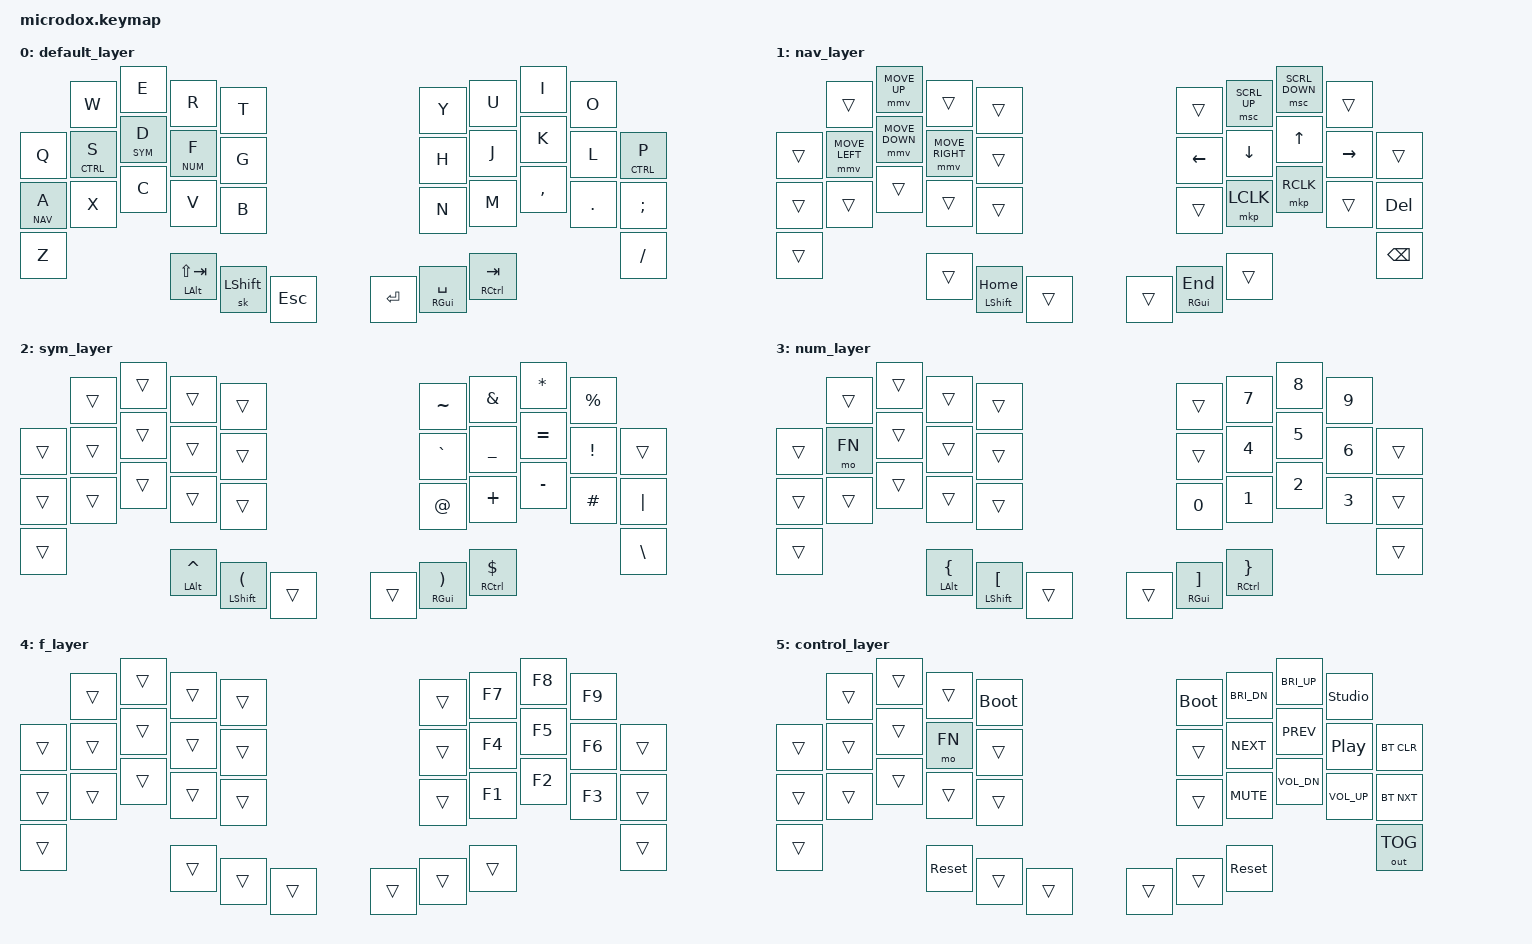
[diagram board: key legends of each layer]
/*
 * Copyright (c) 2020 The ZMK Contributors
 *
 * SPDX-License-Identifier: MIT
 */

#include <behaviors.dtsi>
#include <dt-bindings/zmk/keys.h>
#include <dt-bindings/zmk/bt.h>
#include <dt-bindings/zmk/pointing.h>
#include <dt-bindings/zmk/outputs.h>
#include <physical_layouts.dtsi>

#define DEFAULT 0
#define NAV     1
#define SYM     2
#define NUM     3
#define FN      4
#define CTRL    5

&sk {
    release-after-ms = <10000>;
    quick-release;
};
&lt {
    tapping-term-ms = <200>;
};

/ {
    chosen {
        /delete-property/ zmk,matrix-transform;
        zmk,physical-layout = &microdox_physical_layout;
    };

    microdox_physical_layout: microdox_physical_layout {
        compatible = "zmk,physical-layout";
        display-name = "Microdox";
        transform = <&default_transform>;

        keys  //                     w   h    x    y     rot    rx    ry
            = <&key_physical_attrs 100 100    0  133       0     0     0>
            , <&key_physical_attrs 100 100  100   31       0     0     0>
            , <&key_physical_attrs 100 100  200    0       0     0     0>
            , <&key_physical_attrs 100 100  300   28       0     0     0>
            , <&key_physical_attrs 100 100  400   42       0     0     0>
            , <&key_physical_attrs 100 100  800   42       0     0     0>
            , <&key_physical_attrs 100 100  900   28       0     0     0>
            , <&key_physical_attrs 100 100 1000    0       0     0     0>
            , <&key_physical_attrs 100 100 1100   31       0     0     0>
            , <&key_physical_attrs 100 100 1200  133       0     0     0>
            , <&key_physical_attrs 100 100    0  233       0     0     0>
            , <&key_physical_attrs 100 100  100  131       0     0     0>
            , <&key_physical_attrs 100 100  200  100       0     0     0>
            , <&key_physical_attrs 100 100  300  128       0     0     0>
            , <&key_physical_attrs 100 100  400  142       0     0     0>
            , <&key_physical_attrs 100 100  800  142       0     0     0>
            , <&key_physical_attrs 100 100  900  128       0     0     0>
            , <&key_physical_attrs 100 100 1000  100       0     0     0>
            , <&key_physical_attrs 100 100 1100  131       0     0     0>
            , <&key_physical_attrs 100 100 1200  233       0     0     0>
            , <&key_physical_attrs 100 100    0  333       0     0     0>
            , <&key_physical_attrs 100 100  100  231       0     0     0>
            , <&key_physical_attrs 100 100  200  200       0     0     0>
            , <&key_physical_attrs 100 100  300  228       0     0     0>
            , <&key_physical_attrs 100 100  400  242       0     0     0>
            , <&key_physical_attrs 100 100  800  242       0     0     0>
            , <&key_physical_attrs 100 100  900  228       0     0     0>
            , <&key_physical_attrs 100 100 1000  200       0     0     0>
            , <&key_physical_attrs 100 100 1100  231       0     0     0>
            , <&key_physical_attrs 100 100 1200  333       0     0     0>
            , <&key_physical_attrs 100 100  300  375       0     0     0>
            , <&key_physical_attrs 100 100  400  400       0     0     0>
            , <&key_physical_attrs 100 100  500  420       0     0     0>
            , <&key_physical_attrs 100 100  700  420       0     0     0>
            , <&key_physical_attrs 100 100  800  400       0     0     0>
            , <&key_physical_attrs 100 100  900  375       0     0     0>
            ;
    };

    keymap {
        compatible = "zmk,keymap";

        default_layer {
            bindings = <
    &kp Q     &kp W      &kp E            &kp R     &kp T       &kp Y   &kp U          &kp I         &kp O   &lt CTRL P
    &lt NAV A &lt CTRL S &lt SYM D        &lt NUM F &kp G       &kp H   &kp J          &kp K         &kp L   &kp SEMI
    &kp Z     &kp X      &kp C            &kp V     &kp B       &kp N   &kp M          &kp COMMA     &kp DOT &kp FSLH
                         &mt LALT LS(TAB) &sk LSHFT &kp ESC     &kp RET &mt RGUI SPACE &mt RCTRL TAB
            >;
        };

        nav_layer {
            bindings = <
   &trans &trans         &mmv MOVE_UP   &trans          &trans   &trans   &msc SCRL_UP   &msc SCRL_DOWN &trans  &trans
   &trans &mmv MOVE_LEFT &mmv MOVE_DOWN &mmv MOVE_RIGHT &trans   &kp LEFT &kp DOWN       &kp UP       &kp RIGHT &kp DEL
   &trans &trans         &trans         &trans          &trans   &trans   &mkp LCLK      &mkp RCLK    &trans    &kp BSPC
                         &trans         &mt LSHFT HOME  &trans   &trans   &mt RGUI END   &trans
            >;
        };

        sym_layer {
            bindings = <
   &trans &trans &trans         &trans         &trans   &kp TILDE &kp AMPS      &kp ASTRK     &kp PRCNT &trans
   &trans &trans &trans         &trans         &trans   &kp GRAVE &kp UNDER     &kp EQUAL     &kp EXCL  &kp PIPE
   &trans &trans &trans         &trans         &trans   &kp AT    &kp PLUS      &kp MINUS     &kp HASH  &kp BSLH
                 &mt LALT CARET &mt LSHFT LPAR &trans   &trans    &mt RGUI RPAR &mt RCTRL DLLR 
            >;
        };

        num_layer {
            bindings = <
   &trans &trans &trans        &trans         &trans   &trans &kp N7        &kp N8         &kp N9 &trans
   &trans &mo FN &trans        &trans         &trans   &trans &kp N4        &kp N5         &kp N6 &trans
   &trans &trans &trans        &trans         &trans   &kp N0 &kp N1        &kp N2         &kp N3 &trans
                 &mt LALT LBRC &mt LSHFT LBKT &trans   &trans &mt RGUI RBKT &mt RCTRL RBRC
            >;
        };

        f_layer {
            bindings = <
   &trans &trans &trans &trans &trans    &trans &kp F7 &kp F8 &kp F9 &trans
   &trans &trans &trans &trans &trans    &trans &kp F4 &kp F5 &kp F6 &trans
   &trans &trans &trans &trans &trans    &trans &kp F1 &kp F2 &kp F3 &trans
                 &trans &trans &trans    &trans &trans &trans
            >;
        };

        control_layer {
            bindings = <
   &trans &trans &trans     &trans &bootloader   &bootloader &kp C_BRI_DN &kp C_BRI_UP &studio_unlock &bt BT_CLR
   &trans &trans &trans     &mo FN &trans        &trans      &kp C_NEXT   &kp C_PREV   &kp C_PP     &bt BT_NXT
   &trans &trans &trans     &trans &trans        &trans      &kp C_MUTE   &kp C_VOL_DN &kp C_VOL_UP &out OUT_TOG
                 &sys_reset &trans &trans        &trans      &trans       &sys_reset
            >;
        };
    };
};
